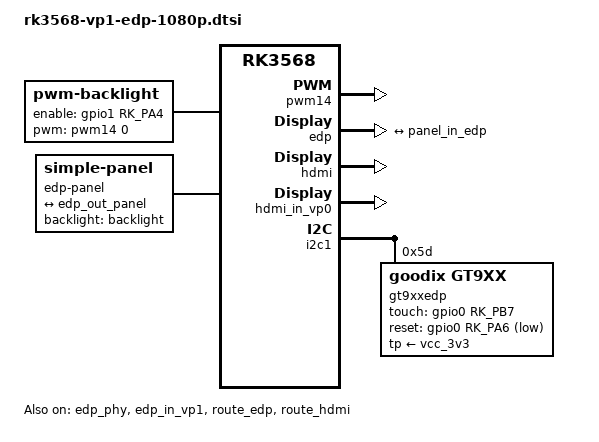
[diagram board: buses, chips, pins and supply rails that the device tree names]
// SPDX-License-Identifier: (GPL-2.0+ OR MIT)
/*
 * Copyright (c) 2020 Rockchip Electronics Co., Ltd.
 *
 */
/ {
	backlight: backlight {
		compatible = "pwm-backlight";
		pwms = <&pwm14 0 25000 0>;
		brightness-levels = <
			  0  20  20  21  21  22  22  23
			 23  24  24  25  25  26  26  27
			 27  28  28  29  29  30  30  31
			 31  32  32  33  33  34  34  35
			 35  36  36  37  37  38  38  39
			 40  41  42  43  44  45  46  47
			 48  49  50  51  52  53  54  55
			 56  57  58  59  60  61  62  63
			 64  65  66  67  68  69  70  71
			 72  73  74  75  76  77  78  79
			 80  81  82  83  84  85  86  87
			 88  89  90  91  92  93  94  95
			 96  97  98  99 100 101 102 103
			104 105 106 107 108 109 110 111
			112 113 114 115 116 117 118 119
			120 121 122 123 124 125 126 127
			128 129 130 131 132 133 134 135
			136 137 138 139 140 141 142 143
			144 145 146 147 148 149 150 151
			152 153 154 155 156 157 158 159
			160 161 162 163 164 165 166 167
			168 169 170 171 172 173 174 175
			176 177 178 179 180 181 182 183
			184 185 186 187 188 189 190 191
			192 193 194 195 196 197 198 199
			200 201 202 203 204 205 206 207
			208 209 210 211 212 213 214 215
			216 217 218 219 220 221 222 223
			224 225 226 227 228 229 230 231
			232 233 234 235 236 237 238 239
			240 241 242 243 244 245 246 247
			248 249 250 251 252 253 254 255
		>;
		default-brightness-level = <200>;

		enable-gpios = <&gpio1 RK_PA4 GPIO_ACTIVE_HIGH>;
	};

	edp-panel {
		compatible = "simple-panel";
		backlight = <&backlight>;
		//power-supply = <&vcc3v3_lcd0_n>;
		prepare-delay-ms = <120>;
		enable-delay-ms = <120>;
		unprepare-delay-ms = <120>;
		disable-delay-ms = <120>;

		display-timings {
			native-mode = <&edp_timing>;

			edp_timing: timing0 {
				clock-frequency = <138500000>;
				hactive = <1920>;
				vactive = <1080>;
				hfront-porch = <64>;
				hsync-len = <32>;
				hback-porch = <64>;
				vfront-porch = <12>;
				vsync-len = <7>;
				vback-porch = <12>;
				hsync-active = <0>;
				vsync-active = <0>;
				de-active = <0>;
				pixelclk-active = <0>;
			};
		};

		port {
			panel_in_edp: endpoint {
				remote-endpoint = <&edp_out_panel>;
			};
		};
	};
};

&pwm14 {
	status = "okay";
};

&edp {
	//hpd-gpios = <&gpio0 RK_PC2 GPIO_ACTIVE_HIGH>;
	force-hpd;
	status = "okay";

	ports {
		port@1 {
			reg = <1>;

			edp_out_panel: endpoint {
				remote-endpoint = <&panel_in_edp>;
			};
		};
	};
};

&edp_phy {
	status = "okay";
};

&edp_in_vp0 {
	status = "disabled";
};

&edp_in_vp1 {
	status = "okay";
};

&route_edp {
	connect = <&vp1_out_edp>;
	status = "okay";
};

&route_hdmi {
	status = "okay";
	connect = <&vp0_out_hdmi>;
};

&hdmi {
	status = "okay";
};

&hdmi_in_vp0 {
	status = "okay";
};

&hdmi_in_vp1 {
	status = "disabled";
};

&i2c1{
	status = "okay";

	gt9xxedp: gt9xx@5d {
		compatible = "goodix,gt9xx";
		reg = <0x5d>;
		touch-gpio = <&gpio0 RK_PB7 IRQ_TYPE_EDGE_RISING>;
		reset-gpio = <&gpio0 RK_PA6 GPIO_ACTIVE_LOW>;
		max-x = <1920>;
		max-y = <1080>;
		tp-size = <928>;
		pinctrl-names = "default";
		pinctrl-0 = <&touch_gpio>;
		tp-supply = <&vcc_3v3>;
		status = "okay";
	};
};

&pinctrl {
	touch {
		touch_gpio: touch-gpio {
			rockchip,pins =
				<0 RK_PB7 RK_FUNC_GPIO &pcfg_pull_up>,
				<0 RK_PA6 RK_FUNC_GPIO &pcfg_pull_none>;
		};
	};
};
